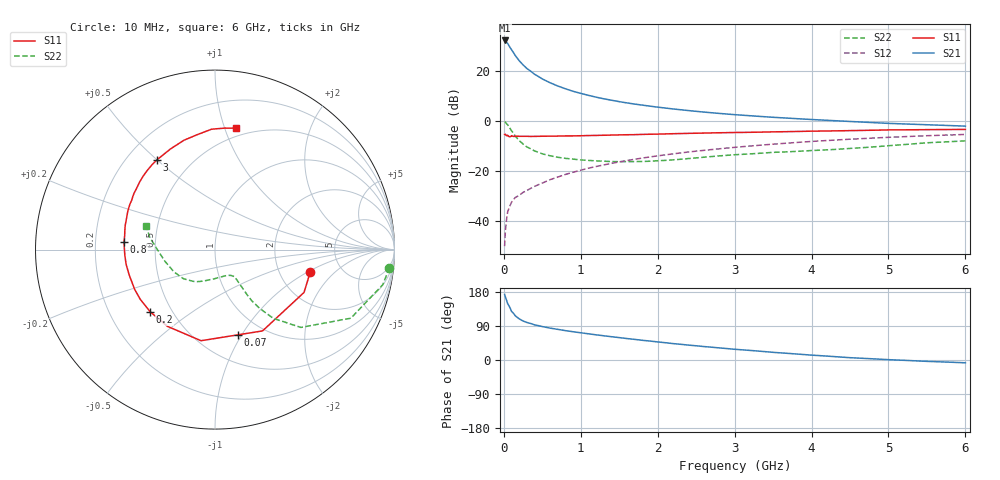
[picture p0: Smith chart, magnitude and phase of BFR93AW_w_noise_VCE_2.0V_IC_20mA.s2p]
! Infineon Technologies  Discrete & RF Semiconductors
! BFR93AW
! VCE =  2.0 V,  IC =  20 mA
! Common Emitter S-Parameters:  Jan 2017
# GHz  S  MA  R  50
!  f  S11  S21  S12  S22
! GHz  MAG  ANG  MAG  ANG  MAG  ANG  MAG  ANG
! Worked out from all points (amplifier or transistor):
!   77 points, 10 MHz to 6 GHz, reference 50 ohm
!   highest |S21| = 32.3 dB at 10 MHz (marker M1)
!   |S21| within 3 dB of that: start of sweep to 85.04 MHz
!   unconditionally stable (mu >= 1): 606.6 MHz to 2.204 GHz
!   at 130 MHz: K = 0.47, MSG = 29.2 dB, |S12| = -31.2 dB
!   at 2.2 GHz: K = 1.00, MAG = 8.9 dB, |S12| = -13.0 dB
!   at 6 GHz: K = 0.91, MSG = 1.7 dB, |S12| = -5.3 dB
!   lowest NFmin = 1.52 dB at 450 MHz
!   S11 on the Smith chart (normalised r, x): 10 MHz: 2.99, -1.05; 70 MHz: 0.77, -0.96; 200 MHz: 0.38, -0.35; 800 MHz: 0.33, +0.04; 3 GHz: 0.32, +0.50; 6 GHz: 0.43, +1.10
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0.01  0.5455 -13.1  41.01 173.0  0.0032 87.5  0.9773 -5.9
0.02  0.5505 -25.7  40.67 166.5  0.0064 86.7  0.9553 -11.8
0.05  0.5247 -59.7  35.68 148.5  0.0155 70.3  0.8479 -26.8
0.07  0.4917 -74.9  31.68 141.8  0.0188 64.3  0.7608 -32.0
0.1  0.5135 -98.7  26.78 128.3  0.0241 58.6  0.6456 -42.2
0.15  0.5031 -121.7  20.37 116.3  0.0301 54.9  0.5021 -49.7
0.2  0.5003 -136.2  16.15 108.6  0.0331 55.3  0.4107 -52.8
0.25  0.5001 -146.3  13.33 102.9  0.0379 56.2  0.3497 -54.3
0.3  0.4995 -153.5  11.29 99.0  0.0414 57.9  0.3067 -54.6
0.4  0.4986 -163.5  8.655 92.7  0.0501 61.0  0.2551 -54.4
0.5  0.5019 -170.6  6.989 88.2  0.0582 62.9  0.2237 -54.3
0.6  0.5033 -176.4  5.877 84.2  0.068 64.5  0.2044 -54.2
0.7  0.5051 179.2  5.061 80.9  0.0767 65.8  0.1907 -54.3
0.8  0.5087 175.1  4.451 77.5  0.0865 66.8  0.1815 -55.2
1.1  0.5181 164.9  3.286 69.1  0.1155 66.9  0.1653 -60.3
1.5  0.5334 154.5  2.461 59.1  0.1539 65.5  0.1557 -72.0
2.1  0.558 140.4  1.833 45.6  0.2133 61.5  0.1654 -95.2
3  0.5957 122.9  1.353 28.3  0.3009 53.3  0.2141 -124.2
3.1  0.598 121.0  1.32 26.8  0.3102 52.2  0.2181 -127.0
4.1  0.6358 104.3  1.063 11.6  0.4032 41.6  0.2636 -154.6
5.1  0.6721 90.3  0.895 0.0  0.4842 30.3  0.3328 176.9
6  0.687 80.0  0.799 -7.4  0.5449 20.2  0.4058 160.9
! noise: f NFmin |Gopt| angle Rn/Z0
0.45  1.52  0.14  161  0.15
0.9  1.8  0.23  175  0.15
1.9  2.8  0.48  -138  0.23
2.4  3.43  0.54  -126  0.45
